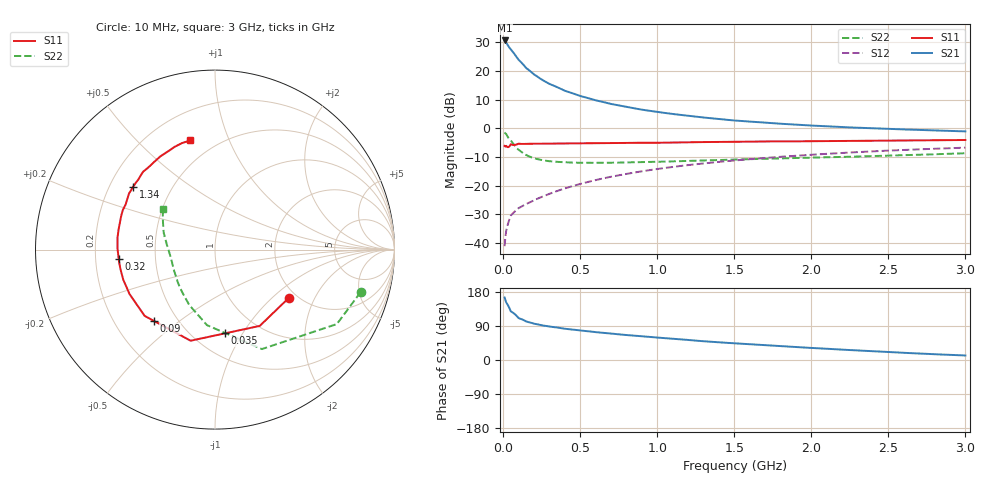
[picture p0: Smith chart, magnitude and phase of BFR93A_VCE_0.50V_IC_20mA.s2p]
! Infineon Technologies  Discrete & RF Semiconductors
! BFR93A
! VCE = 0.50 V,  IC =  20 mA
! Common Emitter S-Parameters:  Nov 2015
# GHz  S  MA  R  50
!  f  S11  S21  S12  S22
! GHz  MAG  ANG  MAG  ANG  MAG  ANG  MAG  ANG
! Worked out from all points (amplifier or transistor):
!   180 points, 10 MHz to 3 GHz, reference 50 ohm
!   highest |S21| = 30.6 dB at 10 MHz (marker M1)
!   |S21| within 3 dB of that: start of sweep to 48.45 MHz
!   unconditionally stable (mu >= 1): 283.2 MHz to end of sweep
!   at 160 MHz: K = 0.79, MSG = 23.4 dB, |S12| = -26.2 dB
!   at 1.22 GHz: K = 1.15, MAG = 6.2 dB, |S12| = -12.7 dB
!   at 3 GHz: K = 1.06, MAG = 1.3 dB, |S12| = -6.8 dB
!   S11 on the Smith chart (normalised r, x): 10 MHz: 1.82, -1.29; 35 MHz: 0.70, -0.84; 90 MHz: 0.37, -0.41; 320 MHz: 0.30, -0.05; 1.34 GHz: 0.30, +0.31; 3 GHz: 0.37, +0.73
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0.01  0.492 -32.9  33.89 164.8  0.0088 78.4  0.8451 -16.3
0.02  0.4929 -59.6  31.11 152.3  0.0162 70.1  0.7959 -31.4
0.035  0.4698 -83.1  26.84 142.0  0.023 60.5  0.6751 -45.9
0.05  0.5256 -105.0  23.73 128.5  0.0301 55.3  0.6127 -64.8
0.09  0.5232 -130.6  17.13 115.6  0.0383 50.7  0.4477 -87.9
0.1  0.5386 -136.7  15.69 110.7  0.0404 49.8  0.423 -96.1
0.15  0.5367 -152.5  11.23 101.6  0.0477 51.2  0.3408 -114.8
0.2  0.5379 -161.8  8.696 95.9  0.0554 54.1  0.2996 -127.6
0.24  0.5374 -167.0  7.378 92.6  0.0619 56.0  0.2828 -135.0
0.3  0.5389 -172.7  5.938 88.2  0.0717 58.4  0.2663 -144.0
0.32  0.5389 -174.3  5.648 87.3  0.0752 59.0  0.2635 -146.0
0.4  0.5432 179.4  4.509 82.5  0.0892 60.9  0.2554 -154.3
0.52  0.5472 172.3  3.538 77.1  0.1104 61.8  0.2498 -162.3
0.6  0.5488 168.3  3.076 73.6  0.1247 62.0  0.2497 -166.7
0.7  0.5503 164.4  2.654 69.6  0.1427 61.6  0.2507 -170.9
0.82  0.5557 159.8  2.299 65.3  0.1634 60.7  0.2539 -175.4
1.02  0.559 152.5  1.892 58.6  0.1981 58.4  0.261 178.7
1.34  0.5751 142.5  1.502 48.4  0.2498 53.9  0.2752 171.1
1.52  0.5787 137.5  1.353 43.5  0.2773 51.3  0.2849 167.5
2.02  0.5949 124.5  1.108 31.5  0.3479 43.7  0.3082 158.9
2.52  0.6107 113.3  0.971 20.7  0.4098 35.5  0.3336 150.5
3  0.6236 102.8  0.882 11.9  0.4591 27.9  0.3667 142.2
